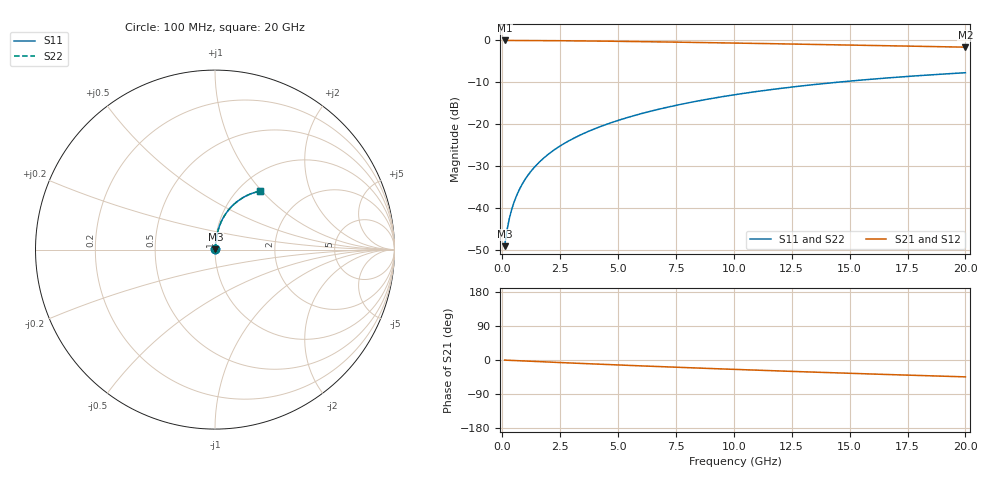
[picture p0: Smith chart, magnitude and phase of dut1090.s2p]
! Touchstone file exported from HFSS 2024.1.0
!  File:  C:/UserFiles/LocalFiles/RDL_TSV_Batchsim/temp_RDL_top_1090_1780045936.aedt
!  Generated:  05:16:16 PM May 29, 2026
!  Design:  RDL_top
!  Project:  temp_RDL_top_1090_1780045936
!  Setup:  Setup1
!  Solution:  Sweep
! Variables:
!  dtsv = 10.80580581um
!  hbump = 3um
!  htsv = 66.73um
!  ldown = 100um
!  lrdl = 633.51um
!  p = 40
!  p1 = 50.81um
!  rhole = 1um
!  t = 450um
!  tdown = 3.915915916um
!  trdl = 4.8um
!  wdown = 15.38538539um
!  wrdl = 18.99um
# GHz S MA R 50.000000
! Terminal data exported
! Port[1] = Box2_T1
! Port[2] = Box2_T2
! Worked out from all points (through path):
!   200 points, 100 MHz to 20 GHz, reference 50 ohm
!   highest |S21| = -0.02 dB at 100 MHz (marker M1); lowest = -1.6 dB at 20 GHz (marker M2)
!   group delay of S21, straight-line fit = 6.14 ps
!   lowest |S11| = -49.1 dB at 100 MHz (marker M3), VSWR 1.01, Z = 50.3 + j0.237 ohm
!   |S11| at or under -10 dB: start of sweep to 14.45 GHz
!   |S22| runs from -49.1 to -7.7 dB; largest |S21 - S12| = 6.5e-15
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0.1  0.003509 42.2  0.9974 -0.3  0.9974 -0.3  0.003509 42.2
! Gamma 0 0 0 0
! Port Impedance 50 0 50 0
0.2  0.005383 59.4  0.9972 -0.6  0.9972 -0.6  0.005383 59.4
0.3  0.00742 67.2  0.9971 -0.8  0.9971 -0.8  0.00742 67.2
0.4  0.009495 71.6  0.9969 -1.1  0.9969 -1.1  0.009496 71.6
0.5  0.01159 74.5  0.9968 -1.4  0.9968 -1.4  0.01159 74.5
0.6  0.01371 76.5  0.9966 -1.6  0.9966 -1.6  0.01371 76.5
0.8  0.01798 79.1  0.9963 -2.2  0.9963 -2.2  0.01798 79.1
1.1  0.02445 81.2  0.9956 -3.0  0.9956 -3.0  0.02445 81.2
1.5  0.03315 82.5  0.9945 -4.1  0.9945 -4.1  0.03315 82.5
1.8  0.0397 82.9  0.9934 -4.9  0.9934 -4.9  0.0397 82.9
2.1  0.04628 83.1  0.9922 -5.7  0.9922 -5.7  0.04628 83.1
2.7  0.05949 83.1  0.9893 -7.3  0.9893 -7.3  0.05949 83.0
3.5  0.07724 82.5  0.9847 -9.3  0.9847 -9.3  0.07723 82.5
4.2  0.09289 81.8  0.98 -11.1  0.98 -11.1  0.09287 81.8
5  0.1109 80.8  0.974 -13.1  0.974 -13.1  0.1109 80.8
6.8  0.1519 78.0  0.959 -17.5  0.959 -17.5  0.1518 78.0
8.4  0.1882 75.1  0.9444 -21.2  0.9444 -21.2  0.1881 75.1
10.1  0.2261 71.8  0.9281 -24.9  0.9281 -24.9  0.226 71.8
11.7  0.2606 68.6  0.9124 -28.4  0.9124 -28.4  0.2605 68.6
13.4  0.2956 65.2  0.8954 -31.9  0.8954 -31.9  0.2954 65.1
16.7  0.3575 58.6  0.8622 -38.4  0.8622 -38.4  0.3572 58.6
20  0.411 52.5  0.8296 -44.5  0.8296 -44.5  0.4107 52.4
